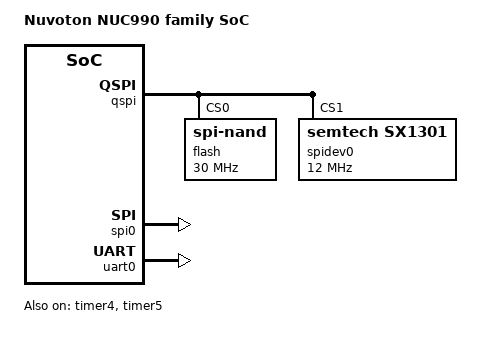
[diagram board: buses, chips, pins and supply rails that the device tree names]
// SPDX-License-Identifier: GPL-2.0
/*
 * Device Tree Source for NUC990
 *
 * Copyright (C) 2025 Nuvoton Technology Corp.
 *
 * The code contained herein is licensed under the GNU General Public
 * License. You may obtain a copy of the GNU General Public License
 * Version 2 or later at the following locations:
 *
 * http://www.opensource.org/licenses/gpl-license.html
 * http://www.gnu.org/copyleft/gpl.html
 */

#include <dt-bindings/gpio/gpio.h>
#include <dt-bindings/interrupt-controller/irq.h>
#include <dt-bindings/clock/nuvoton,nuc990-clk.h>
#include <dt-bindings/reset/nuvoton,nuc990-reset.h>

/ {
	model = "Nuvoton NUC990 family SoC";
	compatible = "nuvoton,nuc990";
	#address-cells = <1>;
	#size-cells = <1>;
	interrupt-parent = <&aic>;

	aliases {
		serial0 = &uart0;
		ethernet0 = &emac0;
		ethernet1 = &emac1;
	};

	cpus {
		#address-cells = <0>;
		#size-cells = <0>;

		cpu@0 {
			compatible = "arm,arm926ej-s";
			device_type = "cpu";
		};
	};

	clocks {
		hxt: hxt {
			compatible = "fixed-clock";
			#clock-cells = <0>;
			clock-frequency = <12000000>;
		};

		lxt: lxt {
			compatible = "fixed-clock";
			#clock-cells = <0>;
			clock-frequency = <32768>;
		};
	};

	ahb {
		#address-cells = <1>;
		#size-cells = <1>;
		compatible = "simple-bus";
		reg = <0xb0000000 0x140000>;
		ranges;

		sys: syscon@b0000000 {
			compatible = "nuvoton,nuc990-syscon", "syscon", "simple-mfd";
			reg = <0xb0000000 0x200>;

			reset: reset-controller {
				compatible = "nuvoton,nuc990-reset";
				#reset-cells = <1>;
			};
		};

		clk: clock-controller@b0000200 {
			compatible = "nuvoton,nuc990-clk";
			reg = <0xb0000200 0x100>;

			#clock-cells = <1>;
			clocks = <&hxt>, <&lxt>;
			clock-names = "hxt", "lxt";

			assigned-clocks = <&clk UPLL>, <&clk APLL>, <&clk SYS_MUX>, <&clk I2S_MUX>;
			assigned-clock-parents = <&clk HXT>, <&clk HXT>, <&clk UPLL>, <&clk APLL>;
			assigned-clock-rates = <300000000>, <98400000>;
		};
#if 0
		pinctrl: pinctrl@b0000000 {
			compatible = "nuvoton,nuc990-pinctrl";
			sys = <&sys>;
			status = "disabled";
		};

		gpio: gpio@b0004000 {
			compatible = "nuvoton,nuc990-gpio";
			reg = <0xb0004000 0x1000>;
			clocks = <&clk GPIO_GATE>;
			gpio-controller;
			status = "disabled";
		};

		dma0: dma@b0008000 {
			compatible = "nuvoton,nuc990-dma";
			reg = <0xb0008000 0x1000>;
			interrupts = <52 IRQ_TYPE_LEVEL_HIGH>;
			clocks = <&clk PDMA0_GATE>;
			status = "disabled";
		};

		dma1: dma@b0009000 {
			compatible = "nuvoton,nuc990-dma";
			reg = <0xb0009000 0x1000>;
			interrupts = <53 IRQ_TYPE_LEVEL_HIGH>;
			clocks = <&clk PDMA1_GATE>;
			status = "disabled";
		};

		ebi: ebi@b0010000 {
			compatible = "nuvoton,nuc990-ebi";
			reg = <0xb0010000 0x1000>;
			clocks = <&clk EBI_GATE>;
			clock-names = "ebi";
			status = "disabled";
		};
#endif
		emac0: ethernet@b0012000 {
			compatible = "nuvoton,nuc990-emac";
			reg = <0xb0012000 0x1000>;
			interrupts = <60 IRQ_TYPE_LEVEL_HIGH>;
			clocks = <&clk EMAC0_GATE>, <&clk MDC_DIV>;
			clock-names = "emac", "mdc";
			resets = <&reset NUC990_RESET_EMAC0>;
			status = "disabled";
		};

		emac1: ethernet@b0022000 {
			compatible = "nuvoton,nuc990-emac";
			reg = <0xb0022000 0x1000>;
			interrupts = <62 IRQ_TYPE_LEVEL_HIGH>;
			clocks = <&clk EMAC1_GATE>, <&clk MDC_DIV>;
			clock-names = "emac", "mdc";
			resets = <&reset NUC990_RESET_EMAC1>;
			status = "disabled";
		};
#if 0
		sdh1: sdh@b0018000 {
			compatible = "nuvoton,nuc990-sdh";
			reg = <0xb0018000 0x1000>;
			interrupts = <58 IRQ_TYPE_LEVEL_HIGH>;
			clocks = <&clk SDH1_GATE>;
			status = "disabled";
		};

		sdh0: sdh@b001a000 {
			compatible = "nuvoton,nuc990-sdh";
			reg = <0xb001a000 0x1000>;
			interrupts = <57 IRQ_TYPE_LEVEL_HIGH>;
			clocks = <&clk SDH0_GATE>;
			status = "disabled";
		};

		fmi: fmi@b0019000 {
			compatible = "nuvoton,nuc990-fmi";
			reg = <0xb0019000 0x1000>;
			interrupts = <59 IRQ_TYPE_LEVEL_HIGH>;
			status = "disabled";
		};

		ehci: ehci@b0015000 {
			compatible = "nuvoton,nuc990-ehci";
			reg = <0x0 0xb0015000 0x0 0x1000>;
			clocks = <&clk USBH_GATE>;
			clock-names = "usbh_gate";
			interrupts = <54 IRQ_TYPE_LEVEL_HIGH>;
			oc-active-level = <0>;    /* 1: active-high; 0: active low */
			status = "okay";
		};

		ohci: ohci@b00170000 {
			compatible = "nuvoton,nuc990-ohci";
			reg = <0x0 0xb0017000 0x0 0x1000>;
			clocks = <&clk USBH_GATE>;
			clock-names = "usbh_gate";
			interrupts = <55 IRQ_TYPE_LEVEL_HIGH>;
			status = "okay";
		};

		crypto: crypto@b001c000{
			compatible = "nuvoton,nuc990-crypto";
			reg = <0xb001c000 0x1000>;
			interrupts = <80 IRQ_TYPE_LEVEL_HIGH>;
			clocks = <&clk CRPT_GATE>;
			status = "disabled";
		};

		i2s: i2s@b0020000 {
			compatible = "nuvoton,nuc990-audio-i2s";
			reg = <0xb0020000 0x1000>;
			interrupts = <16 IRQ_TYPE_LEVEL_HIGH>;
			clocks = <&clk I2S_GATE>;
			status = "disabled";
		};
#endif
		apb {
			#address-cells = <1>;
			#size-cells = <1>;
			compatible = "simple-bus";
			ranges;

			aic: interrupt-controller@b0042000 {
				compatible = "nuvoton,nuc990-aic";
				reg = <0xb0042000 0x1000>;
				interrupt-controller;
				#interrupt-cells = <2>;
				clocks = <&clk AIC_GATE>;
			};
#if 0
			wdt0: wdt@b0040000 {
				compatible = "nuvoton,nuc990-wdt";
				reg = <0xb0040000 0x100>;
				interrupts = <1 IRQ_TYPE_LEVEL_HIGH>;
				clocks = <&clk WDT0_GATE>;
				status = "disabled";
			};

			wwdt0: wwdt@b0040100 {
				compatible = "nuvoton,nuc990-wwdt";
				reg = <0xb0040100 0x100>;
				interrupts = <2 IRQ_TYPE_LEVEL_HIGH>;
				clocks = <&clk WWDT0_GATE>;
				status = "disabled";
			};

			adc0: adc@b0043000 {
				compatible = "nuvoton,nuc990-adc";
				reg = <0xb0043000 0x1000>;
				interrupts = <42 IRQ_TYPE_LEVEL_HIGH>;
				clocks = <&clk ADC0_GATE>;
				clock-names = "adc0";
				status = "disabled";
			};

			eadc0: eadc@b0044000 {
				compatible = "nuvoton,nuc990-eadc";
				reg = <0xb0044000 0x1000>;
				interrupts = <43 IRQ_TYPE_LEVEL_HIGH>,
							<44 IRQ_TYPE_LEVEL_HIGH>,
							<45 IRQ_TYPE_LEVEL_HIGH>,
							<46 IRQ_TYPE_LEVEL_HIGH>;
				
				clocks = <&clk EADC0_GATE>;
				status = "disabled";
			};

			timer0: timer@b0050000 {
				compatible = "nuvoton,nuc990-timer";
				reg = <0xb0050000 0x100>;
				interrupts = <18 IRQ_TYPE_LEVEL_HIGH>;
				clocks = <&clk TMR0_GATE>;
				clock-names = "timer";
				status = "disabled";
			};

			timer1: timer@b0050100 {
				compatible = "nuvoton,nuc990-timer";
				reg = <0xb0050100 0x100>;
				interrupts = <19 IRQ_TYPE_LEVEL_HIGH>;
				clocks = <&clk TMR1_GATE>;
				clock-names = "timer";
				status = "disabled";
			};

			timer2: timer@b0051000 {
				compatible = "nuvoton,nuc990-timer";
				reg = <0xb0051000 0x100>;
				interrupts = <20 IRQ_TYPE_LEVEL_HIGH>;
				clocks = <&clk TMR2_GATE>;
				clock-names = "timer";
				status = "disabled";
			};

			timer3: timer@b0051100 {
				compatible = "nuvoton,nuc990-timer";
				reg = <0xb0051100 0x100>;
				interrupts = <21 IRQ_TYPE_LEVEL_HIGH>;
				clocks = <&clk TMR3_GATE>;
				clock-names = "timer";
				status = "disabled";
			};
#endif
			timer4: timer@b0052000 {
				compatible = "nuvoton,nuc990-clksrc";
				reg = <0xb0052000 0x100>;
				interrupts = <22 IRQ_TYPE_LEVEL_HIGH>;
				clocks = <&clk TMR4_GATE>;
				clock-names = "timer";
				status = "okay";
			};

			timer5: timer@b0052100 {
				compatible = "nuvoton,nuc990-clkevt";
				reg = <0xb0052100 0x100>;
				interrupts = <23 IRQ_TYPE_LEVEL_HIGH>;
				clocks = <&clk TMR5_GATE>;
				clock-names = "timer";
				status = "okay";
			};
#if 0
			bpwm0: bpwm@b0058000 {
				compatible = "nuvoton,nuc990-bpwm";
				reg = <0xb0058000 0x1000>;
				interrupts = <30 IRQ_TYPE_LEVEL_HIGH>;
				clocks = <&clk BPWM0_GATE>;
				status = "disabled";
			};

			bpwm1: bpwm@b0059000 {
				compatible = "nuvoton,nuc990-bpwm";
				reg = <0xb0059000 0x1000>;
				interrupts = <31 IRQ_TYPE_LEVEL_HIGH>;
				clocks = <&clk BPWM1_GATE>;
				status = "disabled";
			};
#endif
			qspi: qspi@b0060000 {
				compatible = "nuvoton,nuc990-qspi";
				reg = <0xb0060000 0x1000>;
				interrupts = <47 IRQ_TYPE_LEVEL_HIGH>;
				clocks = <&clk QSPI0_GATE>;
				num_cs = <2>;
				lsb = <0>;
				sleep = <0>;
				txbitlen = <8>;
				quad = <0>;
				bus_num = <0>;
				spimode = <0>;
				mrxphase = <0>;
				status = "okay";

				#address-cells = <1>;
				#size-cells = <0>;

				flash: flash@0 {
					compatible = "spi-nand";
					reg = <0 0x0 0x2000000>;
					spi-max-frequency = <30000000>;
					#address-cells = <1>;
					#size-cells = <1>;

					uboot@0 {
						label = "spinand-uboot";
						reg = <0x0 0x300000>;
					};
					uboot-env@300000 {
						label = "spinand-uboot-env";
						reg = <0x300000 0xc0000>;
					};
					device-tree@3c0000 {
						label = "spinand-device-tree";
						reg = <0x3c0000 0x40000>;
					};
					kernel@400000 {
						label = "spinand-kernel";
						reg = <0x400000 0x1800000>;
					};
					rootfs@1c00000 {
						label = "spinand-rootfs";
						reg = <0x1c00000 0x6400000>;
					};
				};

				spidev0: spi@1 {
					compatible = "semtech,sx1301";
					reg = <1>;
					spi-max-frequency = <12000000>;
				};

			};

			spi0: spi@b0061000 {
				compatible = "nuvoton,nuc990-spi";
				reg = <0xb0061000 0x1000>;
				interrupts = <48 IRQ_TYPE_LEVEL_HIGH>;
				clocks = <&clk SPI0_GATE>;
				num_cs = <2>;
				lsb = <0>;
				sleep = <0>;
				txbitlen = <8>;
				bus_num = <2>;
				spimode = <0>;
				mrxphase = <0>;
				spi-max-frequency = <10000000>;
				status = "okay";

				#address-cells = <1>;
				#size-cells = <0>;
			};

			spi1: spi@b0062000 {
				compatible = "nuvoton,nuc990-spi";
				reg = <0xb0062000 0x1000>;
				interrupts = <49 IRQ_TYPE_LEVEL_HIGH>;
				clocks = <&clk SPI1_GATE>;
				status = "disabled";
			};

			spi2: spi@b0063000 {
				compatible = "nuvoton,nuc990-spi";
				reg = <0xb0063000 0x1000>;
				interrupts = <50 IRQ_TYPE_LEVEL_HIGH>;
				clocks = <&clk SPI2_GATE>;
				status = "disabled";
			};

			spi3: spi@b0064000 {
				compatible = "nuvoton,nuc990-spi";
				reg = <0xb0064000 0x1000>;
				interrupts = <51 IRQ_TYPE_LEVEL_HIGH>;
				clocks = <&clk SPI3_GATE>;
				status = "disabled";
			};

			uart0: serial@b0070000 {
				compatible = "nuvoton,nuc990-uart", "nuvoton,nuc990-earlycon";
				reg = <0xb0070000 0x1000>;
				interrupts = <32 IRQ_TYPE_LEVEL_HIGH>;
				clocks = <&clk UART0_GATE>;
				clock-names = "uart";
				status = "okay";
			};
#if 0
			uart1: serial@b0071000 {
				compatible = "nuvoton,nuc990-uart";
				reg = <0xb0071000 0x1000>;
				interrupts = <33 IRQ_TYPE_LEVEL_HIGH>;
				clocks = <&clk UART1_GATE>;
				clock-names = "uart";
				status = "disabled";
			};

			uart2: serial@b0072000 {
				compatible = "nuvoton,nuc990-uart";
				reg = <0xb0072000 0x1000>;
				interrupts = <34 IRQ_TYPE_LEVEL_HIGH>;
				clocks = <&clk UART2_GATE>;
				clock-names = "uart";
				status = "disabled";
			};

			uart3: serial@b0073000 {
				compatible = "nuvoton,nuc990-uart";
				reg = <0xb0073000 0x1000>;
				interrupts = <35 IRQ_TYPE_LEVEL_HIGH>;
				clocks = <&clk UART3_GATE>;
				clock-names = "uart";
				status = "disabled";
			};

			uart4: serial@b0074000 {
				compatible = "nuvoton,nuc990-uart";
				reg = <0xb0074000 0x1000>;
				interrupts = <36 IRQ_TYPE_LEVEL_HIGH>;
				clocks = <&clk UART4_GATE>;
				clock-names = "uart";
				status = "disabled";
			};

			uart5: serial@b0075000 {
				compatible = "nuvoton,nuc990-uart";
				reg = <0xb0075000 0x1000>;
				interrupts = <37 IRQ_TYPE_LEVEL_HIGH>;
				clocks = <&clk UART5_GATE>;
				clock-names = "uart";
				status = "disabled";
			};

			uart6: serial@b0076000 {
				compatible = "nuvoton,nuc990-uart";
				reg = <0xb0076000 0x1000>;
				interrupts = <38 IRQ_TYPE_LEVEL_HIGH>;
				clocks = <&clk UART6_GATE>;
				clock-names = "uart";
				status = "disabled";
			};

			uart7: serial@b0077000 {
				compatible = "nuvoton,nuc990-uart";
				reg = <0xb0077000 0x1000>;
				interrupts = <39 IRQ_TYPE_LEVEL_HIGH>;
				clocks = <&clk UART7_GATE>;
				clock-names = "uart";
				status = "disabled";
			};

			uart8: serial@b0078000 {
				compatible = "nuvoton,nuc990-uart";
				reg = <0xb0078000 0x1000>;
				interrupts = <40 IRQ_TYPE_LEVEL_HIGH>;
				clocks = <&clk UART8_GATE>;
				clock-names = "uart";
				status = "disabled";
			};

			uart9: serial@b0079000 {
				compatible = "nuvoton,nuc990-uart";
				reg = <0xb0079000 0x1000>;
				interrupts = <41 IRQ_TYPE_LEVEL_HIGH>;
				clocks = <&clk UART9_GATE>;
				clock-names = "uart";
				status = "disabled";
			};

			i2c0: i2c@b0080000 {
				compatible = "nuvoton,nuc990-i2c";
				reg = <0xb0080000 0x1000>;
				interrupts = <24 IRQ_TYPE_LEVEL_HIGH>;
				clocks = <&clk I2C0_GATE>;
				status = "disabled";
			};

			i2c1: i2c@b0081000 {
				compatible = "nuvoton,nuc990-i2c";
				reg = <0xb0081000 0x1000>;
				interrupts = <25 IRQ_TYPE_LEVEL_HIGH>;
				clocks = <&clk I2C1_GATE>;
				status = "disabled";
			};

			i2c2: i2c@b0082000 {
				compatible = "nuvoton,nuc990-i2c";
				reg = <0xb0082000 0x1000>;
				interrupts = <26 IRQ_TYPE_LEVEL_HIGH>;
				clocks = <&clk I2C2_GATE>;
				status = "disabled";
			};

			i2c3: i2c@b0083000 {
				compatible = "nuvoton,nuc990-i2c";
				reg = <0xb0083000 0x1000>;
				interrupts = <27 IRQ_TYPE_LEVEL_HIGH>;
				clocks = <&clk I2C3_GATE>;
				status = "disabled";
			};

			can0: can@b00a0000 {
				compatible = "bosch,m_can";
				reg = <0xb00a0000 0x1000>;
				interrupts = <64 IRQ_TYPE_LEVEL_HIGH>;
				clocks = <&clk CAN0_GATE>;
				clock-names = "can";
				status = "disabled";
			};

			can1: can@b00a1000 {
				compatible = "bosch,m_can";
				reg = <0xb00a1000 0x1000>;
				interrupts = <65 IRQ_TYPE_LEVEL_HIGH>;
				clocks = <&clk CAN1_GATE>;
				clock-names = "can";
				status = "disabled";
			};

			can2: can@b00a2000 {
				compatible = "bosch,m_can";
				reg = <0xb00a2000 0x1000>;
				interrupts = <66 IRQ_TYPE_LEVEL_HIGH>;
				clocks = <&clk CAN2_GATE>;
				clock-names = "can";
				status = "disabled";
			};

			can3: can@b00a3000 {
				compatible = "bosch,m_can";
				reg = <0xb00a3000 0x1000>;
				interrupts = <67 IRQ_TYPE_LEVEL_HIGH>;
				clocks = <&clk CAN3_GATE>;
				clock-names = "can";
				status = "disabled";
			};
#endif
		};
	};
};
